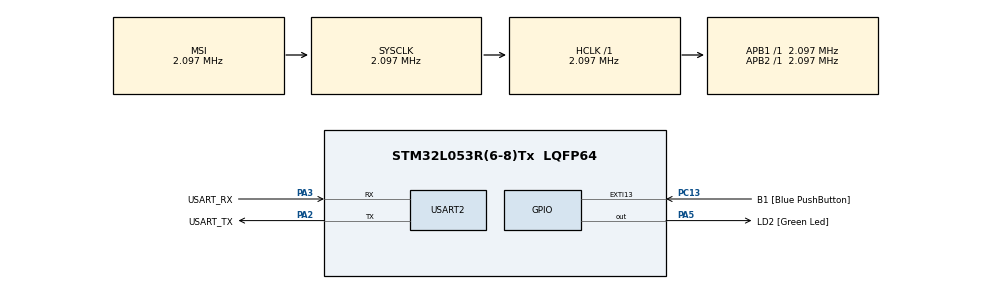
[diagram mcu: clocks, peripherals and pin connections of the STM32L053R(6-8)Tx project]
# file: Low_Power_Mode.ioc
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Mcu.Family=STM32L0
Mcu.Name=STM32L053R(6-8)Tx
Mcu.Package=LQFP64
NVIC.EXTI4_15_IRQn=true\:0\:0\:false\:false\:true\:true\:true
PA13.GPIO_Label=TMS
PA13.Mode=Serial_Wire
PA13.Signal=SYS_SWDIO
PA14.GPIO_Label=TCK
PA14.Mode=Serial_Wire
PA14.Signal=SYS_SWCLK
PA2.GPIO_Label=USART_TX
PA2.Mode=Asynchronous
PA2.Signal=USART2_TX
PA3.GPIO_Label=USART_RX
PA3.Mode=Asynchronous
PA3.Signal=USART2_RX
PA5.GPIO_Label=LD2 [Green Led]
PA5.Signal=GPIO_Output
PC13.GPIO_Label=B1 [Blue PushButton]
PC13.GPIO_ModeDefaultEXTI=GPIO_MODE_IT_FALLING
PC13.GPIO_PuPd=GPIO_NOPULL
PC13.Signal=GPXTI13
PC14-OSC32_IN.Mode=LSE-External-Oscillator
PC14-OSC32_IN.Signal=RCC_OSC32_IN
PC15-OSC32_OUT.Mode=LSE-External-Oscillator
PC15-OSC32_OUT.Signal=RCC_OSC32_OUT
PH0-OSC_IN.Mode=HSE-External-Clock-Source
PH0-OSC_IN.Signal=RCC_OSC_IN
PH1-OSC_OUT.Signal=RCC_OSC_OUT
ProjectManager.HeapSize=0x200
ProjectManager.StackSize=0x400
ProjectManager.TargetToolchain=MDK-ARM V5.27
RCC.AHBFreq_Value=2097000
RCC.APB1Freq_Value=2097000
RCC.APB1TimFreq_Value=2097000
RCC.APB2Freq_Value=2097000
RCC.APB2TimFreq_Value=2097000
RCC.HSE_VALUE=8000000
RCC.HSI16_VALUE=16000000
RCC.HSI48_VALUE=48000000
RCC.HSI_VALUE=16000000
RCC.MSI_VALUE=2097000
RCC.SYSCLKFreq_VALUE=2097000
RCC.VCOOutputFreq_Value=48000000
USART2.VirtualMode-Asynchronous=VM_ASYNC
board=NUCLEO-L053R8

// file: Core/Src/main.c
/* USER CODE BEGIN Header */
/**
  ******************************************************************************
  * @file           : main.c
  * @brief          : Main program body
  ******************************************************************************
  * @attention
  *
  * <h2><center>&copy; Copyright (c) 2021 STMicroelectronics.
  * All rights reserved.</center></h2>
  *
  * This software component is licensed by ST under BSD 3-Clause license,
  * the "License"; You may not use this file except in compliance with the
  * License. You may obtain a copy of the License at:
  *                        opensource.org/licenses/BSD-3-Clause
  *
  ******************************************************************************
  */
/* USER CODE END Header */
#include "main.h"

/* USER CODE BEGIN Includes */

#include <stdio.h>
#include <string.h>

#include "LowPowerMode.h"

/* USER CODE END Includes */

UART_HandleTypeDef huart2;

void SystemClock_Config(void);
static void MX_GPIO_Init(void);
static void MX_USART2_UART_Init(void);

/* USER CODE BEGIN 0 */

#define SLEEP_DELAY		3	/* In seconds */

#define SLEEP_MODE 	0
#define STOP_MODE 	1
#define STANDY_MODE	2

char uart_tx_buf[200];
char uart_rx_buf[200];

void HAL_GPIO_EXTI_Callback(uint16_t GPIO_Pin)
{
    if(GPIO_Pin == GPIO_PIN_13)
    {
			HAL_GPIO_WritePin(GPIOA, GPIO_PIN_5, 0);
    }
}

/* USER CODE END 0 */

int main(void)
{
  /* USER CODE BEGIN 1 */
	unsigned char lpmMode = SLEEP_MODE;

	void (*lpmEntryFunPtr)(void) = NULL;
	void (*lpmExitFunPtr)(void) = NULL;

  /* USER CODE END 1 */

  /* MCU Configuration--------------------------------------------------------*/

  /* Reset of all peripherals, Initializes the Flash interface and the Systick. */
  HAL_Init();

  /* Configure the system clock */
  SystemClock_Config();

  /* Initialize all configured peripherals */
  MX_GPIO_Init();
  MX_USART2_UART_Init();
  /* USER CODE BEGIN 2 */

		char option = ' ';
		char strLpmMode[20] = "Sleep";

		HAL_GPIO_WritePin(GPIOA, GPIO_PIN_5, 0);

  /* USER CODE END 2 */

  /* Infinite loop */
  while (1)
  {

    /* USER CODE BEGIN 3 */

		sprintf(uart_tx_buf, "\r\nSTM32 Low Power Demo \r\n\r\n1. Enter Sleep Mode \r\n2. Enter Stop Mode \r\n3. Enter Standby Mode\r\n");

		HAL_UART_Transmit(&huart2, (uint8_t *)uart_tx_buf, strlen(uart_tx_buf), 1000);

		HAL_UART_Receive(&huart2, (uint8_t *)uart_rx_buf, 1, 50000);

		option = uart_rx_buf[0];

		switch(option)
		{
			/* Sleep Mode */
			case '1':
				lpmMode = SLEEP_MODE;
				strcpy(strLpmMode, "Sleep");

				lpmEntryFunPtr = Lpm_Enter_SleepMode;
				lpmExitFunPtr = Lpm_Exit_SleepMode;
			break;

			/* Stop Mode */
			case '2':
				lpmMode = STOP_MODE;
				strcpy(strLpmMode, "Stop");

				lpmEntryFunPtr = Lpm_Enter_StopMode;
				lpmExitFunPtr = Lpm_Exit_StopMode;
			break;

			/* Standby Mode */
			case '3':
				lpmMode = STANDY_MODE;
				strcpy(strLpmMode, "Standby");

				lpmEntryFunPtr = Lpm_Enter_StandbyMode;
				lpmExitFunPtr = Lpm_Exit_StandbyMode;
			break;

			default:
				sprintf(uart_tx_buf, "\r\nInvalid Option !");
			break;

		}

		/* Delay entry into Low Powre Mode */
		for(int i=0; i< SLEEP_DELAY; i++)
		{
			sprintf(uart_tx_buf, "\r\nEntering %s Mode in %d seconds .. ", strLpmMode, SLEEP_DELAY-i);
			HAL_UART_Transmit(&huart2, (uint8_t *)uart_tx_buf, strlen(uart_tx_buf), 1000);

			/* Wait for 1 second */
			HAL_Delay(1000);
		}

		/* Enter into target LPM mode */
		(*lpmEntryFunPtr)();

		/* Exit from LPM mode*/
		(*lpmExitFunPtr)();

		sprintf(uart_tx_buf, "\r\n\r\nExit %s", strLpmMode);
		HAL_UART_Transmit(&huart2, (uint8_t *)uart_tx_buf, strlen(uart_tx_buf), 1000);

  }
  /* USER CODE END 3 */
}

void SystemClock_Config(void)
{
  RCC_OscInitTypeDef RCC_OscInitStruct = {0};
  RCC_ClkInitTypeDef RCC_ClkInitStruct = {0};
  RCC_PeriphCLKInitTypeDef PeriphClkInit = {0};

  /** Configure the main internal regulator output voltage
  */
  __HAL_PWR_VOLTAGESCALING_CONFIG(PWR_REGULATOR_VOLTAGE_SCALE1);
  /** Initializes the RCC Oscillators according to the specified parameters
  * in the RCC_OscInitTypeDef structure.
  */
  RCC_OscInitStruct.OscillatorType = RCC_OSCILLATORTYPE_MSI;
  RCC_OscInitStruct.MSIState = RCC_MSI_ON;
  RCC_OscInitStruct.MSICalibrationValue = 0;
  RCC_OscInitStruct.MSIClockRange = RCC_MSIRANGE_5;
  RCC_OscInitStruct.PLL.PLLState = RCC_PLL_NONE;
  if (HAL_RCC_OscConfig(&RCC_OscInitStruct) != HAL_OK)
  {
    Error_Handler();
  }
  /** Initializes the CPU, AHB and APB buses clocks
  */
  RCC_ClkInitStruct.ClockType = RCC_CLOCKTYPE_HCLK|RCC_CLOCKTYPE_SYSCLK
                              |RCC_CLOCKTYPE_PCLK1|RCC_CLOCKTYPE_PCLK2;
  RCC_ClkInitStruct.SYSCLKSource = RCC_SYSCLKSOURCE_MSI;
  RCC_ClkInitStruct.AHBCLKDivider = RCC_SYSCLK_DIV1;
  RCC_ClkInitStruct.APB1CLKDivider = RCC_HCLK_DIV1;
  RCC_ClkInitStruct.APB2CLKDivider = RCC_HCLK_DIV1;

  if (HAL_RCC_ClockConfig(&RCC_ClkInitStruct, FLASH_LATENCY_0) != HAL_OK)
  {
    Error_Handler();
  }
  PeriphClkInit.PeriphClockSelection = RCC_PERIPHCLK_USART2;
  PeriphClkInit.Usart2ClockSelection = RCC_USART2CLKSOURCE_PCLK1;
  if (HAL_RCCEx_PeriphCLKConfig(&PeriphClkInit) != HAL_OK)
  {
    Error_Handler();
  }
}

static void MX_USART2_UART_Init(void)
{

  huart2.Instance = USART2;
  huart2.Init.BaudRate = 115200;
  huart2.Init.WordLength = UART_WORDLENGTH_8B;
  huart2.Init.StopBits = UART_STOPBITS_1;
  huart2.Init.Parity = UART_PARITY_NONE;
  huart2.Init.Mode = UART_MODE_TX_RX;
  huart2.Init.HwFlowCtl = UART_HWCONTROL_NONE;
  huart2.Init.OverSampling = UART_OVERSAMPLING_16;
  huart2.Init.OneBitSampling = UART_ONE_BIT_SAMPLE_DISABLE;
  huart2.AdvancedInit.AdvFeatureInit = UART_ADVFEATURE_NO_INIT;
  if (HAL_UART_Init(&huart2) != HAL_OK)
  {
    Error_Handler();
  }

}

static void MX_GPIO_Init(void)
{
  GPIO_InitTypeDef GPIO_InitStruct = {0};

  /* GPIO Ports Clock Enable */
  __HAL_RCC_GPIOC_CLK_ENABLE();
  __HAL_RCC_GPIOH_CLK_ENABLE();
  __HAL_RCC_GPIOA_CLK_ENABLE();

  /*Configure GPIO pin Output Level */
  HAL_GPIO_WritePin(LD2_GPIO_Port, LD2_Pin, GPIO_PIN_RESET);

  /*Configure GPIO pin : B1_Pin */
  GPIO_InitStruct.Pin = B1_Pin;
  GPIO_InitStruct.Mode = GPIO_MODE_IT_FALLING;
  GPIO_InitStruct.Pull = GPIO_NOPULL;
  HAL_GPIO_Init(B1_GPIO_Port, &GPIO_InitStruct);

  /*Configure GPIO pin : LD2_Pin */
  GPIO_InitStruct.Pin = LD2_Pin;
  GPIO_InitStruct.Mode = GPIO_MODE_OUTPUT_PP;
  GPIO_InitStruct.Pull = GPIO_NOPULL;
  GPIO_InitStruct.Speed = GPIO_SPEED_FREQ_LOW;
  HAL_GPIO_Init(LD2_GPIO_Port, &GPIO_InitStruct);

  /* EXTI interrupt init*/
  HAL_NVIC_SetPriority(EXTI4_15_IRQn, 0, 0);
  HAL_NVIC_EnableIRQ(EXTI4_15_IRQn);

}

void Error_Handler(void)
{
  __disable_irq();
  while (1)
  {
  }
}

/************************ (C) COPYRIGHT STMicroelectronics *****END OF FILE****/
